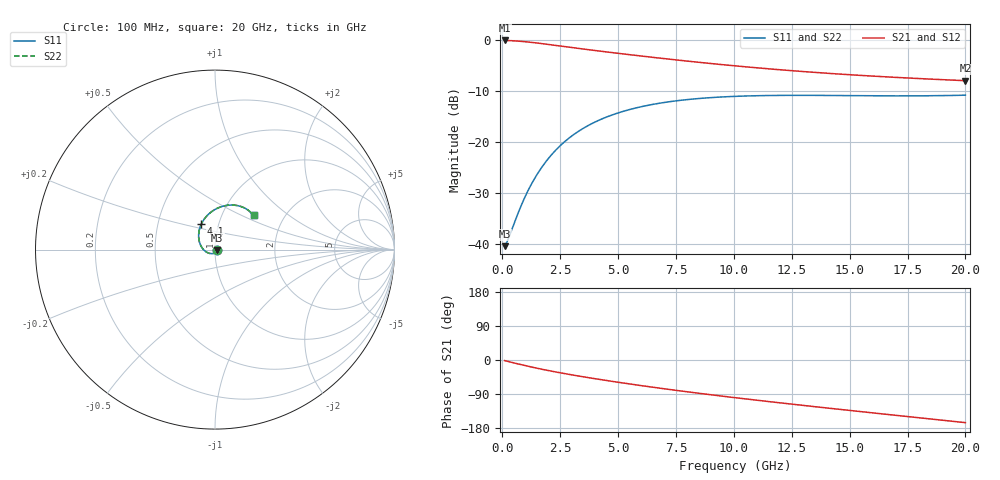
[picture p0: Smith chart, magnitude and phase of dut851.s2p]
! Touchstone file exported from HFSS 2024.1.0
!  File:  C:/UserFiles/LocalFiles/RDL_TSV_Batchsim/temp_RDL_TSV_851_1779922890.aedt
!  Generated:  07:16:13 AM May 28, 2026
!  Design:  RDL_TSV
!  Project:  temp_RDL_TSV_851_1779922890
!  Setup:  Setup1
!  Solution:  Sweep
! Variables:
!  dtsv = 10.15um
!  hbump = 3um
!  htsv = 96.03um
!  ldown = 240.03um
!  lrdl = 313.21um
!  p = 40
!  p1 = 46.16um
!  rhole = 10um
!  subl = 1972.93um
!  t = 450um
!  tdown = 4.73um
!  trdl = 4.76um
!  viad = 10um
!  wdown = 26.58um
!  wrdl = 14.97um
!  xbump = 18um
# GHz S MA R 50.000000
! Terminal data exported
! Port[1] = TM1_1_T1
! Port[2] = TM1_4_T1
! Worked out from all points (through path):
!   200 points, 100 MHz to 20 GHz, reference 50 ohm
!   highest |S21| = -0.08 dB at 100 MHz (marker M1); lowest = -8.0 dB at 20 GHz (marker M2)
!   group delay of S21, straight-line fit = 21.6 ps
!   lowest |S11| = -40.4 dB at 100 MHz (marker M3), VSWR 1.02, Z = 50.9 - j0.311 ohm
!   |S11| at or under -10 dB: start of sweep to end of sweep
!   |S22| runs from -40.4 to -10.8 dB; largest |S21 - S12| = 2.2e-14
!   S11 on the Smith chart (normalised r, x): 100 MHz: 1.02, -0.01; 4.1 GHz: 0.83, +0.24; 20 GHz: 1.40, +0.59
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0.1  0.009554 -18.6  0.9903 -1.6  0.9903 -1.6  0.009554 -18.6
! Gamma 0 0 0 0
! Port Impedance 50 0 50 0
0.2  0.0105 -36.7  0.989 -3.1  0.989 -3.1  0.0105 -36.7
0.3  0.0119 -53.5  0.9871 -4.6  0.9871 -4.6  0.0119 -53.5
0.7  0.02065 -104.3  0.9752 -10.6  0.9752 -10.6  0.02065 -104.3
1  0.02966 -130.4  0.9622 -14.9  0.9622 -14.9  0.02966 -130.4
1.3  0.04032 -150.7  0.9464 -19.1  0.9464 -19.1  0.04033 -150.7
1.6  0.05227 -167.2  0.9289 -23.0  0.9289 -23.0  0.05227 -167.2
2  0.06953 174.9  0.9044 -28.0  0.9044 -28.0  0.06954 174.9
2.5  0.09213 157.0  0.8736 -33.8  0.8736 -33.8  0.09215 157.0
3  0.1147 142.5  0.8439 -39.2  0.8439 -39.2  0.1148 142.5
3.5  0.1365 130.5  0.8158 -44.4  0.8158 -44.4  0.1366 130.5
4.1  0.1609 118.4  0.7843 -50.3  0.7843 -50.3  0.161 118.4
5.3  0.2025 99.4  0.7271 -61.5  0.7271 -61.5  0.2026 99.4
6.8  0.2406 82.1  0.6646 -74.4  0.6646 -74.4  0.2406 82.1
8.4  0.2663 68.7  0.6077 -87.1  0.6077 -87.1  0.2664 68.7
10.1  0.2809 58.4  0.557 -99.8  0.557 -99.8  0.281 58.4
11.7  0.2864 51.4  0.5177 -111.1  0.5177 -111.1  0.2865 51.4
13.4  0.287 46.3  0.4834 -122.6  0.4834 -122.6  0.2871 46.3
15  0.2853 43.3  0.4571 -133.1  0.4571 -133.1  0.2855 43.3
16.7  0.2837 41.7  0.434 -144.1  0.434 -144.1  0.2839 41.7
18.3  0.2842 41.3  0.4159 -154.4  0.4159 -154.4  0.2844 41.4
20  0.2881 41.7  0.3997 -165.3  0.3997 -165.3  0.2883 41.7
